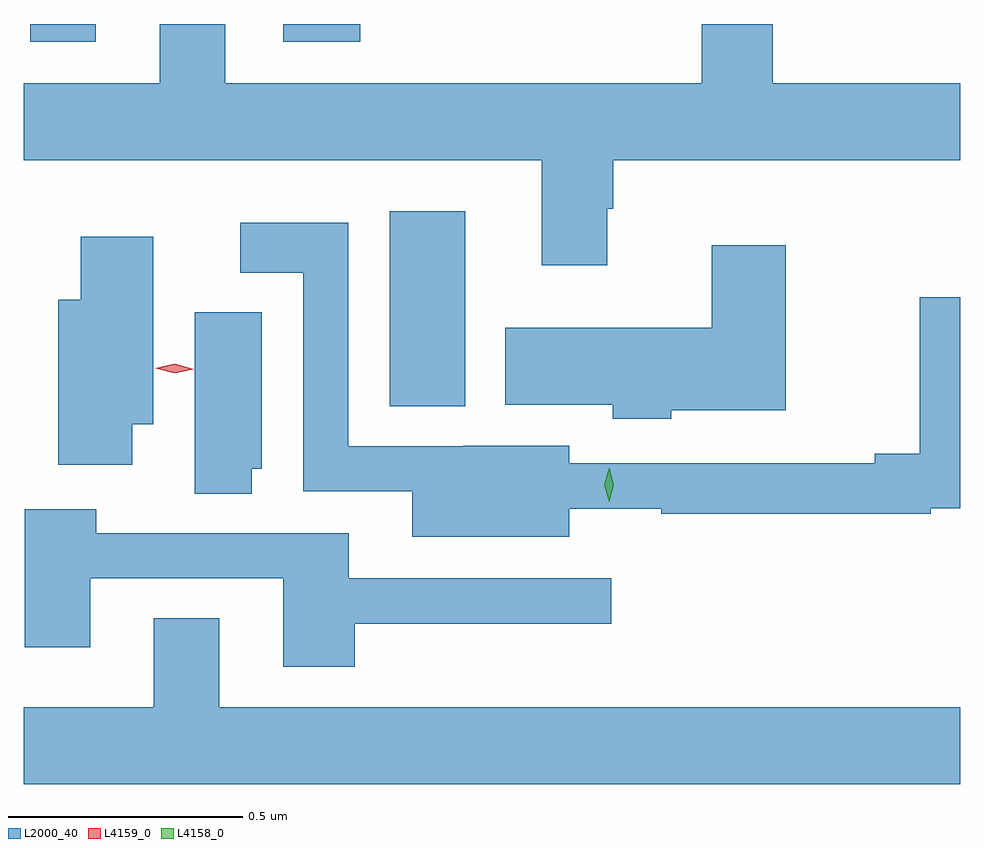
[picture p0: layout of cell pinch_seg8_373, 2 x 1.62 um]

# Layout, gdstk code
import gdstk
lib = gdstk.Library(unit=1e-6, precision=1e-09)
def R(c, l, rs):  # rectangles x0, y0, x1, y1
    for r in rs: c.add(gdstk.rectangle(r[:2], r[2:], *l))
def P(c, l, *ps):  # polygons
    for p in ps: c.add(gdstk.Polygon(p, *l))
L2000_40 = (2000, 40)
L4158_0 = (4158, 0)
L4159_0 = (4159, 0)

pinch_seg8_373 = lib.new_cell('pinch_seg8_373')
R(pinch_seg8_373, L2000_40, [(438.605,1111.979,438.766,1112.395), (437.837,1112.757,437.977,1112.795), (438.377,1112.757,438.542,1112.795)])
P(pinch_seg8_373, L2000_40, [(439.069,1112.4),(439.082,1112.4),(439.082,1112.504),(439.823,1112.504),(439.823,1112.668),(439.423,1112.668),(439.423,1112.795),(439.271,1112.795),(439.271,1112.668),(438.253,1112.668),(438.253,1112.795),(438.113,1112.795),(438.113,1112.668),(437.823,1112.668),(437.823,1112.504),(438.929,1112.504),(438.929,1112.28),(439.069,1112.28)],
  [(438.988,1111.76),(439.184,1111.76),(439.184,1111.749),(439.76,1111.749),(439.76,1111.761),(439.823,1111.761),(439.823,1112.212),(439.736,1112.212),(439.736,1111.877),(439.64,1111.877),(439.64,1111.857),(438.988,1111.857),(438.988,1111.894),(438.762,1111.894),(438.762,1111.893),(438.516,1111.893),(438.516,1112.371),(438.285,1112.371),(438.285,1112.264),(438.42,1112.264),(438.42,1111.797),(438.653,1111.797),(438.653,1111.7),(438.988,1111.7)],
  [(438.055,1111.94),(438.1,1111.94),(438.1,1112.341),(437.945,1112.341),(437.945,1112.206),(437.897,1112.206),(437.897,1111.854),(438.055,1111.854)],
  [(439.206,1111.97),(439.45,1111.97),(439.45,1112.323),(439.292,1112.323),(439.292,1112.146),(438.851,1112.146),(438.851,1111.982),(439.081,1111.982),(439.081,1111.952),(439.206,1111.952)],
  [(438.31,1111.845),(438.331,1111.845),(438.331,1112.179),(438.188,1112.179),(438.188,1111.792),(438.31,1111.792)],
  [(438.53,1111.514),(439.078,1111.514),(439.078,1111.611),(438.517,1111.611),(438.517,1111.707),(437.978,1111.707),(437.978,1111.759),(437.825,1111.759),(437.825,1111.464),(437.965,1111.464),(437.965,1111.611),(438.377,1111.611),(438.377,1111.422),(438.53,1111.422)],
  [(439.823,1111.336),(438.241,1111.336),(438.241,1111.526),(438.101,1111.526),(438.101,1111.336),(437.823,1111.336),(437.823,1111.172),(439.823,1111.172)])
P(pinch_seg8_373, L4158_0, [(439.073,1111.775),(439.073,1111.775),(439.063,1111.811),(439.073,1111.847),(439.073,1111.847),(439.073,1111.847),(439.083,1111.811),(439.073,1111.775)])
P(pinch_seg8_373, L4159_0, [(438.145,1112.049),(438.104,1112.06),(438.104,1112.06),(438.104,1112.06),(438.146,1112.069),(438.186,1112.058),(438.186,1112.058),(438.186,1112.058)])

lib.write_gds('pinch_seg8_373.gds')
